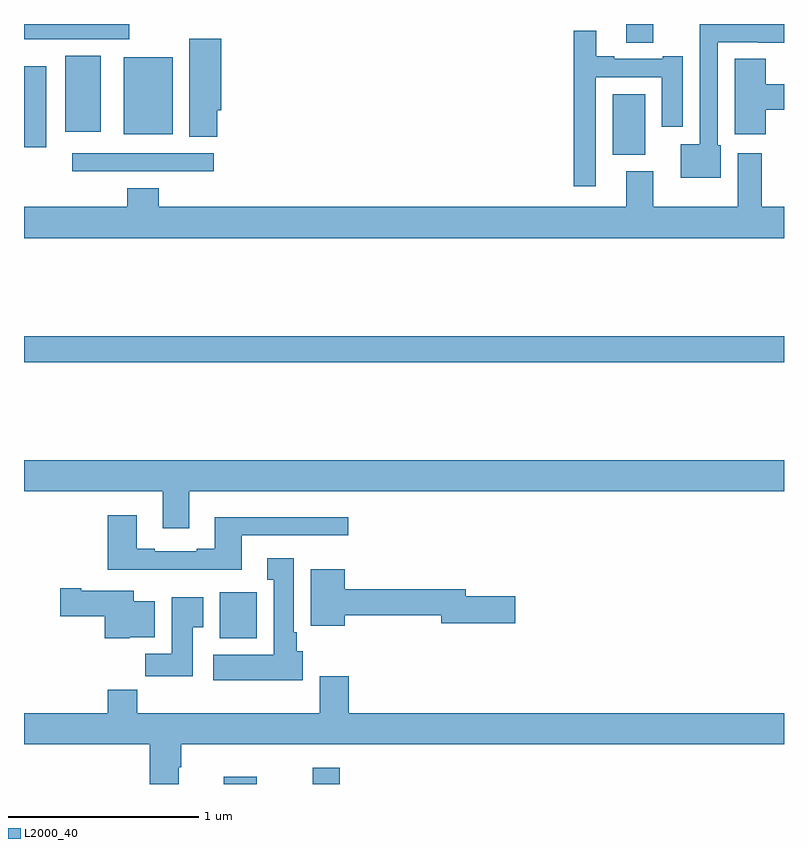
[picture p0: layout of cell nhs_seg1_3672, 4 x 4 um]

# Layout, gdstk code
import gdstk
lib = gdstk.Library(unit=1e-6, precision=1e-09)
def R(c, l, rs):  # rectangles x0, y0, x1, y1
    for r in rs: c.add(gdstk.rectangle(r[:2], r[2:], *l))
def P(c, l, *ps):  # polygons
    for p in ps: c.add(gdstk.Polygon(p, *l))
L2000_40 = (2000, 40)

nhs_seg1_3672 = lib.new_cell('nhs_seg1_3672')
R(nhs_seg1_3672, L2000_40, [(312.05,542.199,312.226,542.236), (312.52,542.199,312.662,542.284), (312.029,542.966,312.226,543.208), (311,544.42,315,544.556), (311.253,545.424,311.998,545.52), (314.099,545.51,314.269,545.83), (311,545.55,311.116,545.977), (311.525,545.618,311.782,546.025), (311.216,545.633,311.404,546.031), (314.171,546.1,314.311,546.199), (311,546.12,311.553,546.199)])
P(nhs_seg1_3672, L2000_40, [(314.668,545.562),(314.652,545.562),(314.652,546.102),(314.864,546.102),(314.864,546.101),(315,546.101),(315,546.199),(314.556,546.199),(314.556,545.566),(314.456,545.566),(314.456,545.39),(314.668,545.39)],
  [(314.01,545.919),(314.357,545.919),(314.357,545.658),(314.467,545.658),(314.467,546.028),(314.363,546.028),(314.363,546.015),(314.107,546.015),(314.107,546.028),(314.011,546.028),(314.011,546.163),(313.894,546.163),(313.894,545.346),(314.01,545.346)],
  [(312.017,545.745),(312.038,545.745),(312.038,546.121),(311.87,546.121),(311.87,545.605),(312.017,545.605)],
  [(314.903,545.747),(315,545.747),(315,545.881),(314.903,545.881),(314.903,546.016),(314.741,546.016),(314.741,545.619),(314.903,545.619)],
  [(315,545.236),(314.882,545.236),(314.882,545.518),(314.756,545.518),(314.756,545.236),(314.311,545.236),(314.311,545.425),(314.171,545.425),(314.171,545.236),(311.708,545.236),(311.708,545.335),(311.543,545.335),(311.543,545.236),(311,545.236),(311,545.072),(315,545.072)],
  [(311.869,543.74),(315,543.74),(315,543.904),(311,543.904),(311,543.74),(311.729,543.74),(311.729,543.546),(311.869,543.546)],
  [(312.145,543.507),(312.706,543.507),(312.706,543.604),(312.005,543.604),(312.005,543.436),(311.909,543.436),(311.909,543.423),(311.689,543.423),(311.689,543.436),(311.593,543.436),(311.593,543.613),(311.441,543.613),(311.441,543.326),(312.145,543.326)],
  [(312.466,542.898),(312.436,542.898),(312.436,542.998),(312.421,542.998),(312.421,543.388),(312.281,543.388),(312.281,543.275),(312.314,543.275),(312.314,542.878),(311.997,542.878),(311.997,542.744),(312.466,542.744)],
  [(312.688,543.088),(313.196,543.088),(313.196,543.046),(313.585,543.046),(313.585,543.188),(313.324,543.188),(313.324,543.224),(312.688,543.224),(312.688,543.328),(312.509,543.328),(312.509,543.032),(312.688,543.032)],
  [(311.556,542.972),(311.689,542.972),(311.689,543.16),(311.578,543.16),(311.578,543.217),(311.302,543.217),(311.302,543.23),(311.19,543.23),(311.19,543.083),(311.426,543.083),(311.426,542.966),(311.556,542.966)],
  [(311.887,543.025),(311.944,543.025),(311.944,543.181),(311.777,543.181),(311.777,542.884),(311.638,542.884),(311.638,542.766),(311.887,542.766)],
  [(311.815,542.288),(311.828,542.288),(311.828,542.408),(315,542.408),(315,542.572),(312.71,542.572),(312.71,542.767),(312.557,542.767),(312.557,542.572),(311.597,542.572),(311.597,542.696),(311.441,542.696),(311.441,542.572),(311,542.572),(311,542.408),(311.663,542.408),(311.663,542.199),(311.815,542.199)])

lib.write_gds('nhs_seg1_3672.gds')
